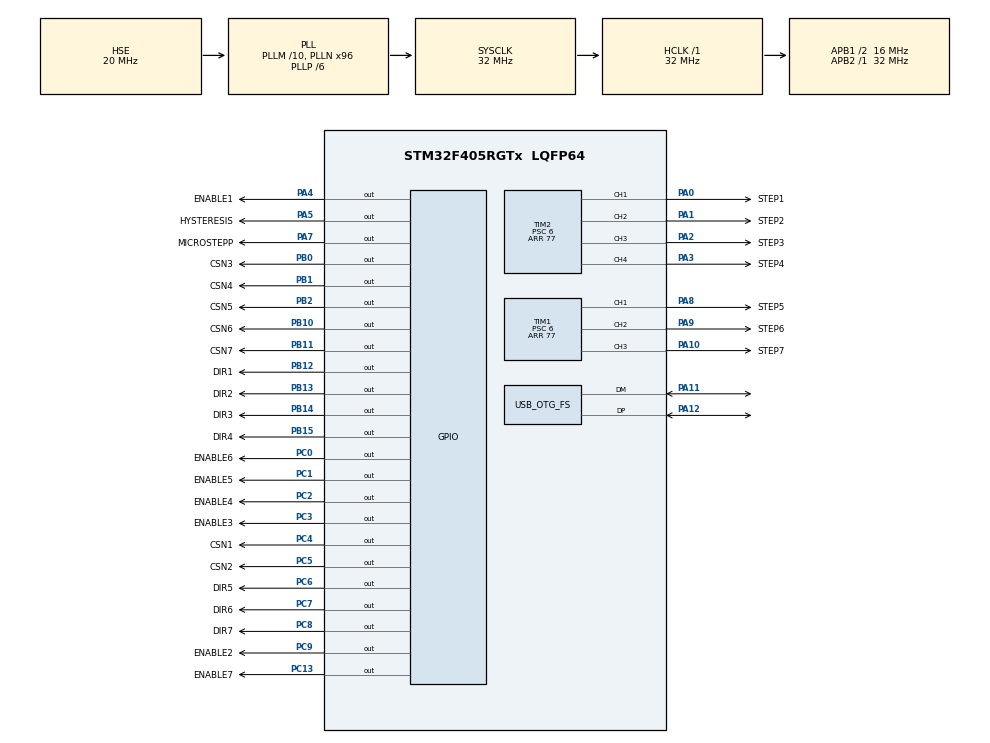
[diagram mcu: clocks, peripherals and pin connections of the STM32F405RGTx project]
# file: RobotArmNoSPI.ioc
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Mcu.Family=STM32F4
Mcu.Name=STM32F405RGTx
Mcu.Package=LQFP64
NVIC.OTG_FS_IRQn=true\:0\:0\:false\:false\:true\:false\:true\:true
NVIC.PriorityGroup=NVIC_PRIORITYGROUP_4
NVIC.TIM1_UP_TIM10_IRQn=true\:0\:0\:false\:false\:true\:true\:true\:true
NVIC.TIM2_IRQn=true\:0\:0\:false\:false\:true\:true\:true\:true
PA0-WKUP.GPIO_Label=STEP1
PA0-WKUP.Signal=S_TIM2_CH1_ETR
PA1.GPIO_Label=STEP2
PA1.Signal=S_TIM2_CH2
PA10.GPIO_Label=STEP7
PA10.Signal=S_TIM1_CH3
PA11.Mode=Device_Only
PA11.Signal=USB_OTG_FS_DM
PA12.Mode=Device_Only
PA12.Signal=USB_OTG_FS_DP
PA13.Mode=Serial_Wire
PA13.Signal=SYS_JTMS-SWDIO
PA14.Mode=Serial_Wire
PA14.Signal=SYS_JTCK-SWCLK
PA2.GPIO_Label=STEP3
PA2.Signal=S_TIM2_CH3
PA3.GPIO_Label=STEP4
PA3.Signal=S_TIM2_CH4
PA4.GPIO_Label=ENABLE1
PA4.GPIO_Speed=GPIO_SPEED_FREQ_LOW
PA4.PinState=GPIO_PIN_SET
PA4.Signal=GPIO_Output
PA5.GPIO_Label=HYSTERESIS
PA5.Signal=GPIO_Output
PA7.GPIO_Label=MICROSTEPP
PA7.PinState=GPIO_PIN_RESET
PA7.Signal=GPIO_Output
PA8.GPIO_Label=STEP5
PA8.Signal=S_TIM1_CH1
PA9.GPIO_Label=STEP6
PA9.Signal=S_TIM1_CH2
PB0.GPIO_Label=CSN3
PB0.Signal=GPIO_Output
PB1.GPIO_Label=CSN4
PB1.Signal=GPIO_Output
PB10.GPIO_Label=CSN6
PB10.Signal=GPIO_Output
PB11.GPIO_Label=CSN7
PB11.Signal=GPIO_Output
PB12.GPIO_Label=DIR1
PB12.Signal=GPIO_Output
PB13.GPIO_Label=DIR2
PB13.Signal=GPIO_Output
PB14.GPIO_Label=DIR3
PB14.Signal=GPIO_Output
PB15.GPIO_Label=DIR4
PB15.Signal=GPIO_Output
PB2.GPIO_Label=CSN5
PB2.Signal=GPIO_Output
PC0.GPIO_Label=ENABLE6
PC0.PinState=GPIO_PIN_SET
PC0.Signal=GPIO_Output
PC1.GPIO_Label=ENABLE5
PC1.PinState=GPIO_PIN_SET
PC1.Signal=GPIO_Output
PC13-ANTI_TAMP.GPIO_Label=ENABLE7
PC13-ANTI_TAMP.PinState=GPIO_PIN_SET
PC13-ANTI_TAMP.Signal=GPIO_Output
PC2.GPIO_Label=ENABLE4
PC2.PinState=GPIO_PIN_SET
PC2.Signal=GPIO_Output
PC3.GPIO_Label=ENABLE3
PC3.PinState=GPIO_PIN_SET
PC3.Signal=GPIO_Output
PC4.GPIO_Label=CSN1
PC4.PinState=GPIO_PIN_RESET
PC4.Signal=GPIO_Output
PC5.GPIO_Label=CSN2
PC5.Signal=GPIO_Output
PC6.GPIO_Label=DIR5
PC6.Signal=GPIO_Output
PC7.GPIO_Label=DIR6
PC7.Signal=GPIO_Output
PC8.GPIO_Label=DIR7
PC8.Signal=GPIO_Output
PC9.GPIO_Label=ENABLE2
PC9.PinState=GPIO_PIN_SET
PC9.Signal=GPIO_Output
PH0-OSC_IN.Mode=HSE-External-Oscillator
PH0-OSC_IN.Signal=RCC_OSC_IN
PH1-OSC_OUT.Mode=HSE-External-Oscillator
PH1-OSC_OUT.Signal=RCC_OSC_OUT
ProjectManager.HeapSize=0x200
ProjectManager.StackSize=0x400
ProjectManager.TargetToolchain=STM32CubeIDE
RCC.48MHZClocksFreq_Value=48000000
RCC.AHBFreq_Value=32000000
RCC.APB1CLKDivider=RCC_HCLK_DIV2
RCC.APB1Freq_Value=16000000
RCC.APB1TimFreq_Value=32000000
RCC.APB2Freq_Value=32000000
RCC.APB2TimFreq_Value=32000000
RCC.CortexFreq_Value=32000000
RCC.HCLKFreq_Value=32000000
RCC.HSE_VALUE=20000000
RCC.HSI_VALUE=16000000
RCC.LSE_VALUE=32768
RCC.PLLM=10
RCC.PLLN=96
RCC.PLLP=RCC_PLLP_DIV6
RCC.SYSCLKFreq_VALUE=32000000
RCC.SYSCLKSource=RCC_SYSCLKSOURCE_PLLCLK
RCC.VCOOutputFreq_Value=192000000
SH.S_TIM1_CH1.0=TIM1_CH1,PWM Generation1 CH1
SH.S_TIM1_CH2.0=TIM1_CH2,PWM Generation2 CH2
SH.S_TIM1_CH3.0=TIM1_CH3,PWM Generation3 CH3
SH.S_TIM2_CH1_ETR.0=TIM2_CH1,PWM Generation1 CH1
SH.S_TIM2_CH2.0=TIM2_CH2,PWM Generation2 CH2
SH.S_TIM2_CH3.0=TIM2_CH3,PWM Generation3 CH3
SH.S_TIM2_CH4.0=TIM2_CH4,PWM Generation4 CH4
TIM1.Channel-PWM\ Generation1\ CH1=TIM_CHANNEL_1
TIM1.Channel-PWM\ Generation2\ CH2=TIM_CHANNEL_2
TIM1.Channel-PWM\ Generation3\ CH3=TIM_CHANNEL_3
TIM1.Period=77
TIM1.Prescaler=6
TIM1.Pulse-PWM\ Generation1\ CH1=77/2
TIM1.Pulse-PWM\ Generation2\ CH2=77/2
TIM1.Pulse-PWM\ Generation3\ CH3=77/2
TIM2.Channel-PWM\ Generation1\ CH1=TIM_CHANNEL_1
TIM2.Channel-PWM\ Generation2\ CH2=TIM_CHANNEL_2
TIM2.Channel-PWM\ Generation3\ CH3=TIM_CHANNEL_3
TIM2.Channel-PWM\ Generation4\ CH4=TIM_CHANNEL_4
TIM2.Period=77
TIM2.Prescaler=6
TIM2.Pulse-PWM\ Generation1\ CH1=77/2
TIM2.Pulse-PWM\ Generation2\ CH2=77/2
TIM2.Pulse-PWM\ Generation3\ CH3=77/2
TIM2.Pulse-PWM\ Generation4\ CH4=77/2
USB_DEVICE.CLASS_NAME_FS=CDC
USB_DEVICE.VirtualMode-CDC_FS=Cdc
USB_DEVICE.VirtualModeFS=Cdc_FS
USB_OTG_FS.VirtualMode=Device_Only
VP_USB_DEVICE_VS_USB_DEVICE_CDC_FS.Mode=CDC_FS
board=custom

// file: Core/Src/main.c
/* USER CODE BEGIN Header */
/**
  ******************************************************************************
  * @file           : main.c
  * @brief          : Main program body
  ******************************************************************************
  * @attention
  *
  * Copyright (c) 2025 STMicroelectronics.
  * All rights reserved.
  *
  * This software is licensed under terms that can be found in the LICENSE file
  * in the root directory of this software component.
  * If no LICENSE file comes with this software, it is provided AS-IS.
  *
  ******************************************************************************
  */
/* USER CODE END Header */
#include "main.h"
#include "usb_device.h"

/* USER CODE BEGIN Includes */
#include "usb.h"
#include "motor_control.h"
#include "command_parser.h"
/* USER CODE END Includes */

/* USER CODE BEGIN PTD */
Motor_TypeDef my_motors[7];
/* USER CODE END PTD */

TIM_HandleTypeDef htim1;
TIM_HandleTypeDef htim2;

void SystemClock_Config(void);
static void MX_GPIO_Init(void);
static void MX_TIM2_Init(void);
static void MX_TIM1_Init(void);

int main(void)
{

  /* MCU Configuration--------------------------------------------------------*/

  /* Reset of all peripherals, Initializes the Flash interface and the Systick. */
  HAL_Init();

  /* Configure the system clock */
  SystemClock_Config();

  /* Initialize all configured peripherals */
  MX_GPIO_Init();
  MX_TIM2_Init();
  MX_USB_DEVICE_Init();
  MX_TIM1_Init();
  /* USER CODE BEGIN 2 */

  Motor_Init(&my_motors[0], &htim2, TIM_CHANNEL_1, DIR1_GPIO_Port, DIR1_Pin, ENABLE1_GPIO_Port, ENABLE1_Pin);
  Motor_Init(&my_motors[1], &htim2, TIM_CHANNEL_2, DIR2_GPIO_Port, DIR2_Pin, ENABLE2_GPIO_Port, ENABLE2_Pin);
  Motor_Init(&my_motors[2], &htim2, TIM_CHANNEL_3, DIR3_GPIO_Port, DIR3_Pin, ENABLE3_GPIO_Port, ENABLE3_Pin);
  Motor_Init(&my_motors[3], &htim2, TIM_CHANNEL_4, DIR4_GPIO_Port, DIR4_Pin, ENABLE4_GPIO_Port, ENABLE4_Pin);
  Motor_Init(&my_motors[4], &htim1, TIM_CHANNEL_1, DIR5_GPIO_Port, DIR5_Pin, ENABLE5_GPIO_Port, ENABLE5_Pin);
  Motor_Init(&my_motors[5], &htim1, TIM_CHANNEL_2, DIR6_GPIO_Port, DIR6_Pin, ENABLE6_GPIO_Port, ENABLE6_Pin);
  Motor_Init(&my_motors[6], &htim1, TIM_CHANNEL_3, DIR7_GPIO_Port, DIR7_Pin, ENABLE7_GPIO_Port, ENABLE7_Pin);

  /* USER CODE END 2 */

  /* Infinite loop */
  /* USER CODE BEGIN WHILE */
  while (1)
  {

	  int8_t any_moving = 0;
	      for(int i = 0; i < 7; i++) {
	          if(my_motors[i].is_moving) {
	              any_moving = 1;
	              break;
	          }
	          if(!any_moving) {
	                  USB_Process_Received_Data();
	              }
	      }
  }
    /* USER CODE END WHILE */

}

void SystemClock_Config(void)
{
  RCC_OscInitTypeDef RCC_OscInitStruct = {0};
  RCC_ClkInitTypeDef RCC_ClkInitStruct = {0};

  /** Configure the main internal regulator output voltage
  */
  __HAL_RCC_PWR_CLK_ENABLE();
  __HAL_PWR_VOLTAGESCALING_CONFIG(PWR_REGULATOR_VOLTAGE_SCALE1);

  /** Initializes the RCC Oscillators according to the specified parameters
  * in the RCC_OscInitTypeDef structure.
  */
  RCC_OscInitStruct.OscillatorType = RCC_OSCILLATORTYPE_HSE;
  RCC_OscInitStruct.HSEState = RCC_HSE_ON;
  RCC_OscInitStruct.PLL.PLLState = RCC_PLL_ON;
  RCC_OscInitStruct.PLL.PLLSource = RCC_PLLSOURCE_HSE;
  RCC_OscInitStruct.PLL.PLLM = 10;
  RCC_OscInitStruct.PLL.PLLN = 96;
  RCC_OscInitStruct.PLL.PLLP = RCC_PLLP_DIV6;
  RCC_OscInitStruct.PLL.PLLQ = 4;
  if (HAL_RCC_OscConfig(&RCC_OscInitStruct) != HAL_OK)
  {
    Error_Handler();
  }

  /** Initializes the CPU, AHB and APB buses clocks
  */
  RCC_ClkInitStruct.ClockType = RCC_CLOCKTYPE_HCLK|RCC_CLOCKTYPE_SYSCLK
                              |RCC_CLOCKTYPE_PCLK1|RCC_CLOCKTYPE_PCLK2;
  RCC_ClkInitStruct.SYSCLKSource = RCC_SYSCLKSOURCE_PLLCLK;
  RCC_ClkInitStruct.AHBCLKDivider = RCC_SYSCLK_DIV1;
  RCC_ClkInitStruct.APB1CLKDivider = RCC_HCLK_DIV2;
  RCC_ClkInitStruct.APB2CLKDivider = RCC_HCLK_DIV1;

  if (HAL_RCC_ClockConfig(&RCC_ClkInitStruct, FLASH_LATENCY_1) != HAL_OK)
  {
    Error_Handler();
  }
}

static void MX_TIM1_Init(void)
{

  TIM_MasterConfigTypeDef sMasterConfig = {0};
  TIM_OC_InitTypeDef sConfigOC = {0};
  TIM_BreakDeadTimeConfigTypeDef sBreakDeadTimeConfig = {0};

  htim1.Instance = TIM1;
  htim1.Init.Prescaler = 6;
  htim1.Init.CounterMode = TIM_COUNTERMODE_UP;
  htim1.Init.Period = 77;
  htim1.Init.ClockDivision = TIM_CLOCKDIVISION_DIV1;
  htim1.Init.RepetitionCounter = 0;
  htim1.Init.AutoReloadPreload = TIM_AUTORELOAD_PRELOAD_DISABLE;
  if (HAL_TIM_PWM_Init(&htim1) != HAL_OK)
  {
    Error_Handler();
  }
  sMasterConfig.MasterOutputTrigger = TIM_TRGO_RESET;
  sMasterConfig.MasterSlaveMode = TIM_MASTERSLAVEMODE_DISABLE;
  if (HAL_TIMEx_MasterConfigSynchronization(&htim1, &sMasterConfig) != HAL_OK)
  {
    Error_Handler();
  }
  sConfigOC.OCMode = TIM_OCMODE_PWM1;
  sConfigOC.Pulse = 77/2;
  sConfigOC.OCPolarity = TIM_OCPOLARITY_HIGH;
  sConfigOC.OCNPolarity = TIM_OCNPOLARITY_HIGH;
  sConfigOC.OCFastMode = TIM_OCFAST_DISABLE;
  sConfigOC.OCIdleState = TIM_OCIDLESTATE_RESET;
  sConfigOC.OCNIdleState = TIM_OCNIDLESTATE_RESET;
  if (HAL_TIM_PWM_ConfigChannel(&htim1, &sConfigOC, TIM_CHANNEL_1) != HAL_OK)
  {
    Error_Handler();
  }
  if (HAL_TIM_PWM_ConfigChannel(&htim1, &sConfigOC, TIM_CHANNEL_2) != HAL_OK)
  {
    Error_Handler();
  }
  if (HAL_TIM_PWM_ConfigChannel(&htim1, &sConfigOC, TIM_CHANNEL_3) != HAL_OK)
  {
    Error_Handler();
  }
  sBreakDeadTimeConfig.OffStateRunMode = TIM_OSSR_DISABLE;
  sBreakDeadTimeConfig.OffStateIDLEMode = TIM_OSSI_DISABLE;
  sBreakDeadTimeConfig.LockLevel = TIM_LOCKLEVEL_OFF;
  sBreakDeadTimeConfig.DeadTime = 0;
  sBreakDeadTimeConfig.BreakState = TIM_BREAK_DISABLE;
  sBreakDeadTimeConfig.BreakPolarity = TIM_BREAKPOLARITY_HIGH;
  sBreakDeadTimeConfig.AutomaticOutput = TIM_AUTOMATICOUTPUT_DISABLE;
  if (HAL_TIMEx_ConfigBreakDeadTime(&htim1, &sBreakDeadTimeConfig) != HAL_OK)
  {
    Error_Handler();
  }
  /* USER CODE BEGIN TIM1_Init 2 */
  HAL_NVIC_SetPriority(TIM1_UP_TIM10_IRQn, 1, 0);   // Set priority for TIM2 global interrupt
  HAL_NVIC_EnableIRQ(TIM1_UP_TIM10_IRQn);           // Enable TIM2 global interrupt in NVIC
  /* USER CODE END TIM1_Init 2 */
  HAL_TIM_MspPostInit(&htim1);

}

static void MX_TIM2_Init(void)
{

  TIM_MasterConfigTypeDef sMasterConfig = {0};
  TIM_OC_InitTypeDef sConfigOC = {0};

  htim2.Instance = TIM2;
  htim2.Init.Prescaler = 6;
  htim2.Init.CounterMode = TIM_COUNTERMODE_UP;
  htim2.Init.Period = 77;
  htim2.Init.ClockDivision = TIM_CLOCKDIVISION_DIV1;
  htim2.Init.AutoReloadPreload = TIM_AUTORELOAD_PRELOAD_DISABLE;
  if (HAL_TIM_PWM_Init(&htim2) != HAL_OK)
  {
    Error_Handler();
  }
  sMasterConfig.MasterOutputTrigger = TIM_TRGO_RESET;
  sMasterConfig.MasterSlaveMode = TIM_MASTERSLAVEMODE_DISABLE;
  if (HAL_TIMEx_MasterConfigSynchronization(&htim2, &sMasterConfig) != HAL_OK)
  {
    Error_Handler();
  }
  sConfigOC.OCMode = TIM_OCMODE_PWM1;
  sConfigOC.Pulse = 77/2;
  sConfigOC.OCPolarity = TIM_OCPOLARITY_HIGH;
  sConfigOC.OCFastMode = TIM_OCFAST_DISABLE;
  if (HAL_TIM_PWM_ConfigChannel(&htim2, &sConfigOC, TIM_CHANNEL_1) != HAL_OK)
  {
    Error_Handler();
  }
  if (HAL_TIM_PWM_ConfigChannel(&htim2, &sConfigOC, TIM_CHANNEL_2) != HAL_OK)
  {
    Error_Handler();
  }
  if (HAL_TIM_PWM_ConfigChannel(&htim2, &sConfigOC, TIM_CHANNEL_3) != HAL_OK)
  {
    Error_Handler();
  }
  if (HAL_TIM_PWM_ConfigChannel(&htim2, &sConfigOC, TIM_CHANNEL_4) != HAL_OK)
  {
    Error_Handler();
  }
  /* USER CODE BEGIN TIM2_Init 2 */
  HAL_NVIC_SetPriority(TIM2_IRQn, 1, 0);   // Set priority for TIM2 global interrupt
  HAL_NVIC_EnableIRQ(TIM2_IRQn);           // Enable TIM2 global interrupt in NVIC
  /* USER CODE END TIM2_Init 2 */
  HAL_TIM_MspPostInit(&htim2);

}

static void MX_GPIO_Init(void)
{
  GPIO_InitTypeDef GPIO_InitStruct = {0};

  /* GPIO Ports Clock Enable */
  __HAL_RCC_GPIOC_CLK_ENABLE();
  __HAL_RCC_GPIOH_CLK_ENABLE();
  __HAL_RCC_GPIOA_CLK_ENABLE();
  __HAL_RCC_GPIOB_CLK_ENABLE();

  /*Configure GPIO pin Output Level */
  HAL_GPIO_WritePin(GPIOC, ENABLE7_Pin|ENABLE6_Pin|ENABLE5_Pin|ENABLE4_Pin
                          |ENABLE3_Pin|ENABLE2_Pin, GPIO_PIN_SET);

  /*Configure GPIO pin Output Level */
  HAL_GPIO_WritePin(ENABLE1_GPIO_Port, ENABLE1_Pin, GPIO_PIN_SET);

  /*Configure GPIO pin Output Level */
  HAL_GPIO_WritePin(GPIOA, HYSTERESIS_Pin|MICROSTEPP_Pin, GPIO_PIN_RESET);

  /*Configure GPIO pin Output Level */
  HAL_GPIO_WritePin(GPIOC, CSN1_Pin|CSN2_Pin|DIR5_Pin|DIR6_Pin
                          |DIR7_Pin, GPIO_PIN_RESET);

  /*Configure GPIO pin Output Level */
  HAL_GPIO_WritePin(GPIOB, CSN3_Pin|CSN4_Pin|CSN5_Pin|CSN6_Pin
                          |CSN7_Pin|DIR1_Pin|DIR2_Pin|DIR3_Pin
                          |DIR4_Pin, GPIO_PIN_RESET);

  /*Configure GPIO pins : ENABLE7_Pin ENABLE6_Pin ENABLE5_Pin ENABLE4_Pin
                           ENABLE3_Pin CSN1_Pin CSN2_Pin DIR5_Pin
                           DIR6_Pin DIR7_Pin ENABLE2_Pin */
  GPIO_InitStruct.Pin = ENABLE7_Pin|ENABLE6_Pin|ENABLE5_Pin|ENABLE4_Pin
                          |ENABLE3_Pin|CSN1_Pin|CSN2_Pin|DIR5_Pin
                          |DIR6_Pin|DIR7_Pin|ENABLE2_Pin;
  GPIO_InitStruct.Mode = GPIO_MODE_OUTPUT_PP;
  GPIO_InitStruct.Pull = GPIO_NOPULL;
  GPIO_InitStruct.Speed = GPIO_SPEED_FREQ_LOW;
  HAL_GPIO_Init(GPIOC, &GPIO_InitStruct);

  /*Configure GPIO pins : ENABLE1_Pin HYSTERESIS_Pin MICROSTEPP_Pin */
  GPIO_InitStruct.Pin = ENABLE1_Pin|HYSTERESIS_Pin|MICROSTEPP_Pin;
  GPIO_InitStruct.Mode = GPIO_MODE_OUTPUT_PP;
  GPIO_InitStruct.Pull = GPIO_NOPULL;
  GPIO_InitStruct.Speed = GPIO_SPEED_FREQ_LOW;
  HAL_GPIO_Init(GPIOA, &GPIO_InitStruct);

  /*Configure GPIO pins : CSN3_Pin CSN4_Pin CSN5_Pin CSN6_Pin
                           CSN7_Pin DIR1_Pin DIR2_Pin DIR3_Pin
                           DIR4_Pin */
  GPIO_InitStruct.Pin = CSN3_Pin|CSN4_Pin|CSN5_Pin|CSN6_Pin
                          |CSN7_Pin|DIR1_Pin|DIR2_Pin|DIR3_Pin
                          |DIR4_Pin;
  GPIO_InitStruct.Mode = GPIO_MODE_OUTPUT_PP;
  GPIO_InitStruct.Pull = GPIO_NOPULL;
  GPIO_InitStruct.Speed = GPIO_SPEED_FREQ_LOW;
  HAL_GPIO_Init(GPIOB, &GPIO_InitStruct);

}

/* USER CODE BEGIN 4 */
void HAL_TIM_PeriodElapsedCallback(TIM_HandleTypeDef *htim) {
	Motor_TIM_Interrupt_Handler(htim);
}

/* USER CODE END 4 */

void Error_Handler(void)
{
  __disable_irq();
  while (1)
  {
  }
}
